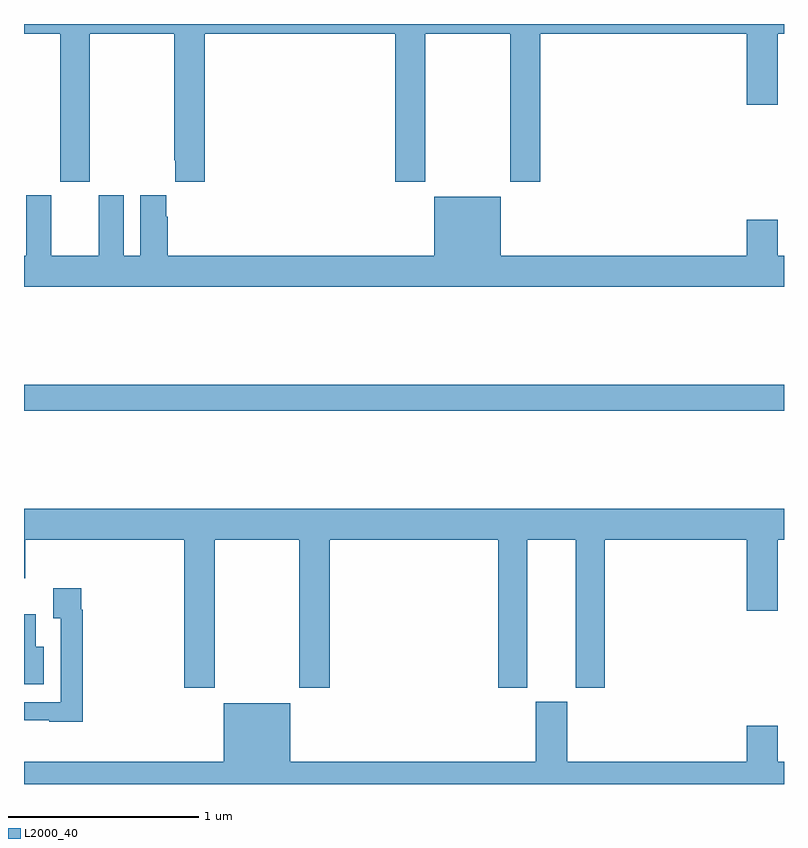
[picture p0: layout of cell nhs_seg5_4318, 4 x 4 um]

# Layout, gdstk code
import gdstk
lib = gdstk.Library(unit=1e-6, precision=1e-09)
def R(c, l, rs):  # rectangles x0, y0, x1, y1
    for r in rs: c.add(gdstk.rectangle(r[:2], r[2:], *l))
def P(c, l, *ps):  # polygons
    for p in ps: c.add(gdstk.Polygon(p, *l))
L2000_40 = (2000, 40)

nhs_seg5_4318 = lib.new_cell('nhs_seg5_4318')
R(nhs_seg5_4318, L2000_40, [(365,866.764,369,866.9)])
P(nhs_seg5_4318, L2000_40, [(365.346,868.748),(365.791,868.748),(365.791,868.081),(365.795,868.081),(365.795,867.969),(365.951,867.969),(365.951,868.748),(366.953,868.748),(366.953,867.969),(367.113,867.969),(367.113,868.748),(367.558,868.748),(367.558,867.969),(367.718,867.969),(367.718,868.748),(368.804,868.748),(368.804,868.374),(368.968,868.374),(368.968,868.748),(369,868.748),(369,868.799),(365,868.799),(365,868.748),(365.191,868.748),(365.191,867.969),(365.346,867.969)],
  [(369,867.58),(368.968,867.58),(368.968,867.769),(368.804,867.769),(368.804,867.58),(367.51,867.58),(367.51,867.889),(367.16,867.889),(367.16,867.58),(365.756,867.58),(365.756,867.785),(365.749,867.785),(365.749,867.898),(365.612,867.898),(365.612,867.58),(365.524,867.58),(365.524,867.898),(365.393,867.898),(365.393,867.58),(365.143,867.58),(365.143,867.898),(365.012,867.898),(365.012,867.58),(365,867.58),(365,867.416),(369,867.416)],
  [(366.003,866.084),(366.448,866.084),(366.448,865.305),(366.608,865.305),(366.608,866.084),(367.496,866.084),(367.496,865.305),(367.648,865.305),(367.648,866.084),(367.904,866.084),(367.904,865.305),(368.057,865.305),(368.057,866.084),(368.804,866.084),(368.804,865.71),(368.968,865.71),(368.968,866.084),(369,866.084),(369,866.248),(365,866.248),(365,865.882),(365.006,865.882),(365.006,866.084),(365.843,866.084),(365.843,865.305),(366.003,865.305)],
  [(365.309,865.715),(365.302,865.715),(365.302,865.828),(365.153,865.828),(365.153,865.672),(365.193,865.672),(365.193,865.23),(365,865.23),(365,865.134),(365.133,865.134),(365.133,865.127),(365.309,865.127)],
  [(365.104,865.522),(365.062,865.522),(365.062,865.692),(365,865.692),(365,865.325),(365.104,865.325)],
  [(369,864.916),(368.968,864.916),(368.968,865.105),(368.804,865.105),(368.804,864.916),(367.858,864.916),(367.858,865.233),(367.694,865.233),(367.694,864.916),(366.4,864.916),(366.4,865.225),(366.05,865.225),(366.05,864.916),(365,864.916),(365,864.799),(369,864.799)])

lib.write_gds('nhs_seg5_4318.gds')
